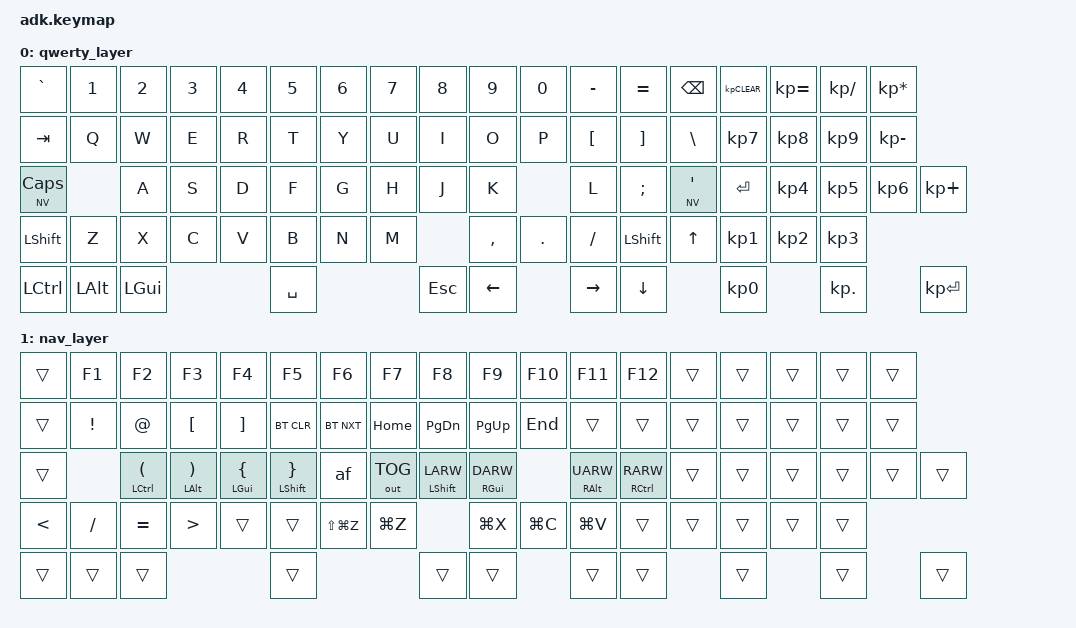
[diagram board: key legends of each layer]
/*
* Copyright (c) 2021 Nick Winans
*
* SPDX-License-Identifier: MIT
*/
#include <behaviors.dtsi>
#include <dt-bindings/zmk/keys.h>
#include <dt-bindings/zmk/bt.h>
#include <dt-bindings/zmk/outputs.h>

#define HM_TAPPING_TERM 280
#define HM_TAPPING_TERM_FAST 200
#define HM_RPI 150
#define HM_RPI_FAST 50

#define NV 1

/ {
	combos {
		compatible = "zmk,combos";
		combo_studio {
			timeout-ms = <50>;
			key-positions = <30 31>;
			layers = <NV>;
			require-prior-idle-ms = <200>;
			bindings = <&studio_unlock>;
		};
	};
	
	behaviors {
		hl: home_row_mod_left {
			compatible = "zmk,behavior-hold-tap";
			#binding-cells = <2>;
			flavor = "balanced";
			tapping-term-ms = <HM_TAPPING_TERM>;
			require-prior-idle-ms = <HM_RPI>;
			hold-trigger-key-positions = < KEYS_R THUMBS NP>;
			hold-trigger-on-release;
			bindings = <&kp>, <&kp>;
		};
		
		hr: home_row_mod_right {
			compatible = "zmk,behavior-hold-tap";
			#binding-cells = <2>;
			flavor = "balanced";
			tapping-term-ms = <HM_TAPPING_TERM>;
			require-prior-idle-ms = <HM_RPI>;
			hold-trigger-key-positions = < KEYS_L THUMBS NP>;
			hold-trigger-on-release;
			bindings = <&kp>, <&kp>;
		};
		
		hls: home_row_mod_left_shift {
			compatible = "zmk,behavior-hold-tap";
			#binding-cells = <2>;
			flavor = "balanced";
			tapping-term-ms = <HM_TAPPING_TERM_FAST>;
			require-prior-idle-ms = <HM_RPI_FAST>;
			hold-trigger-key-positions = < KEYS_R THUMBS NP>;
			bindings = <&kp>, <&kp>;
			hold-trigger-on-release;
		};
		
		hrs: home_row_mod_right_shift {
			compatible = "zmk,behavior-hold-tap";
			#binding-cells = <2>;
			flavor = "balanced";
			tapping-term-ms = <HM_TAPPING_TERM_FAST>;
			require-prior-idle-ms = <HM_RPI_FAST>;
			hold-trigger-key-positions = < KEYS_L THUMBS NP>;
			bindings = <&kp>, <&kp>;
			hold-trigger-on-release;
		};
		
		mqt: momentary-quick-tap {
			compatible = "zmk,behavior-hold-tap";
			#binding-cells = <2>;
			flavor = "tap-preferred";
			tapping-term-ms = <200>;
			quick-tap-ms = <125>;
			require-prior-idle-ms = <HM_RPI>;
			bindings = <&mo>, <&kp>;
		};
		
		// except this one, which is handy for js
		ZMK_MACRO(af,
		wait-ms = <30>;
		tap-ms = <40>;
		bindings = <&kp EQUAL  &kp GT>;
		)
	};
	
	//	M0487 Apple Standard Keyboard II
	//	                    +-------+
	//	                    | power |
	//	                    +-------+
	//	+---+---+---+---+---+---+---+---+---+---+---+---+---+-----+ +---+---+---+---+
	//	| ` | 1 | 2 | 3 | 4 | 5 | 6 | 7 | 8 | 9 | 0 | - | = | bks | |clr| = | / | * |
	//	+---------------------------------------------------------+ +---+---+---+---+
	//	| tab | q | w | e | r | t | y | u | i | o | p | [ | ] | \ | | 7 | 8 | 9 | - |
	//	+---------------------------------------------------------| +---+---+---+---+
	//	| caps | a | s | d | f | g | h | j | k | l | ; | ' |return| | 4 | 5 | 6 | + |
	//	+---------------------------------------------------------+ +---+---+---+---+
	//	| shift  | z | x | c | v | b | n | m | , | . | / |shift|up| | 1 | 2 | 3 |   |
	//	+---------------------------------------------------------+ +-------+---|ent|
	//	| ctrl | opt | comnd |                    |esc|lef|rig|dwn| |   0   | . |   |
	//	+---------------------------------------------------------+ +-------+---+---+
	//	
	keymap {
		compatible = "zmk,keymap";
		
		qwerty_layer {
			bindings = <
			&kp GRAVE &kp N1 &kp N2 &kp N3 &kp N4 &kp N5 &kp N6 &kp N7 &kp N8 &kp N9 &kp N0 &kp MINUS &kp EQUAL &kp BSPC		            &kp KP_CLEAR   &kp KP_EQUAL &kp KP_DIVIDE &kp KP_MULTIPLY
			&kp TAB   &kp Q &kp W   &kp E  &kp R  &kp T  &kp Y  &kp U  &kp I     &kp O      &kp P     &kp LBKT  &kp RBKT     &kp BSLH	  &kp KP_N7      &kp KP_N8    &kp KP_N9     &kp KP_MINUS
			&mqt NV CAPS    &kp A   &kp S  &kp D  &kp F  &kp G  &kp H  &kp J     &kp K      &kp L     &kp SEMI  &mqt NV SQT  &kp RET	  &kp KP_N4      &kp KP_N5    &kp KP_N6     &kp KP_PLUS
			&kp LSHFT &kp Z &kp X   &kp C  &kp V  &kp B  &kp N  &kp M  &kp COMMA &kp DOT    &kp FSLH  &kp LSHFT &kp UP                  &kp KP_N1      &kp KP_N2    &kp KP_N3
			&kp LCTRL &kp LALT &kp LGUI           &kp SPACE            &kp ESC   &kp LEFT   &kp RIGHT &kp DOWN                          &kp KP_N0                   &kp KP_DOT                 &kp KP_ENTER
			>;
		};
		
		nav_layer {
			bindings = <
			&trans &kp F1         &kp F2        &kp F3         &kp F4           &kp F5 &kp F6    &kp F7          &kp F8        &kp F9        &kp F10         &kp F11  &kp F12  &trans												&trans &trans &trans &trans
			&trans &kp EXCL       &kp AT        &kp LBKT       &kp RBKT         &bt BT_CLR       &bt BT_NXT      &kp HOME      &kp PG_DN     &kp PG_UP       &kp END  &trans   &trans &trans								&trans &trans &trans &trans
			&trans &hl LCTRL LPAR &hl LALT RPAR &hl LGUI LBRC  &hls LSHFT RBRC  &af &out OUT_TOG &hrs LSHFT LARW &hr RGUI DARW &hr RALT UARW &hr RCTRL RARW  &trans   &trans   &trans &trans &trans &trans
			&kp LT &kp SLASH      &kp EQUAL     &kp GT &trans  &trans &kp LS(LG(Z))  &kp LG(Z)   &kp LG(X) &kp LG(C)  &kp LG(V)  &trans											 &trans   &trans   &trans
			&trans &trans &trans             &trans              &trans  &trans &trans &trans   &trans       												    	                   &trans   &trans   &trans
			>;
		};
	};
};

